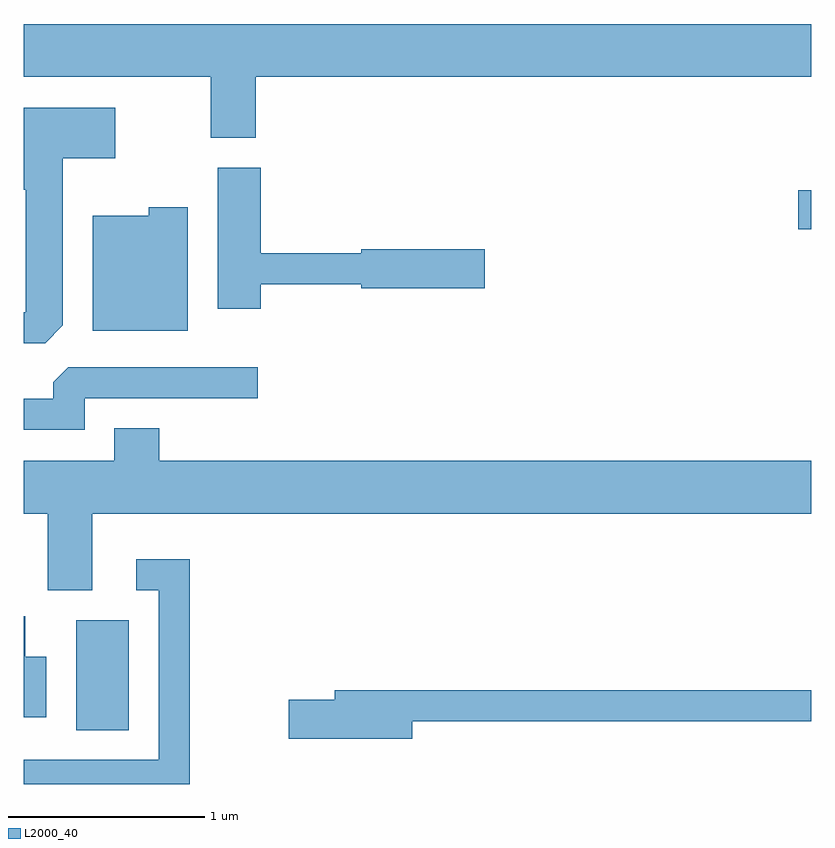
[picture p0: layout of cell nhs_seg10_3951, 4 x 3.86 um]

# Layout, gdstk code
import gdstk
lib = gdstk.Library(unit=1e-6, precision=1e-09)
def R(c, l, rs):  # rectangles x0, y0, x1, y1
    for r in rs: c.add(gdstk.rectangle(r[:2], r[2:], *l))
def P(c, l, *ps):  # polygons
    for p in ps: c.add(gdstk.Polygon(p, *l))
L2000_40 = (2000, 40)

nhs_seg10_3951 = lib.new_cell('nhs_seg10_3951')
R(nhs_seg10_3951, L2000_40, [(301.876,2132.796,302.144,2133.354), (305.546,2135.341,305.611,2135.539)])
P(nhs_seg10_3951, L2000_40, [(302.789,2136.116),(305.611,2136.116),(305.611,2136.384),(301.611,2136.384),(301.611,2136.116),(302.561,2136.116),(302.561,2135.806),(302.789,2135.806)],
  [(301.809,2134.852),(301.809,2135.701),(302.074,2135.701),(302.074,2135.959),(301.611,2135.959),(301.611,2135.541),(301.621,2135.541),(301.621,2134.919),(301.611,2134.919),(301.611,2134.761),(301.719,2134.761)],
  [(302.814,2135.061),(303.326,2135.061),(303.326,2135.041),(303.954,2135.041),(303.954,2135.239),(303.326,2135.239),(303.326,2135.219),(302.814,2135.219),(302.814,2135.654),(302.596,2135.654),(302.596,2134.936),(302.814,2134.936)],
  [(302.444,2135.454),(302.246,2135.454),(302.246,2135.409),(301.961,2135.409),(301.961,2134.826),(302.444,2134.826)],
  [(301.919,2134.481),(302.798,2134.481),(302.798,2134.639),(301.837,2134.639),(301.761,2134.564),(301.761,2134.479),(301.611,2134.479),(301.611,2134.321),(301.919,2134.321)],
  [(301.959,2133.896),(305.611,2133.896),(305.611,2134.164),(302.299,2134.164),(302.299,2134.329),(302.071,2134.329),(302.071,2134.164),(301.611,2134.164),(301.611,2133.896),(301.731,2133.896),(301.731,2133.506),(301.959,2133.506)],
  [(302.454,2133.664),(302.183,2133.664),(302.183,2133.506),(302.296,2133.506),(302.296,2132.644),(301.611,2132.644),(301.611,2132.522),(302.454,2132.522)],
  [(301.724,2133.169),(301.619,2133.169),(301.619,2133.374),(301.611,2133.374),(301.611,2132.861),(301.724,2132.861)],
  [(303.584,2132.841),(305.611,2132.841),(305.611,2132.999),(303.191,2132.999),(303.191,2132.949),(302.956,2132.949),(302.956,2132.751),(303.584,2132.751)])

lib.write_gds('nhs_seg10_3951.gds')
